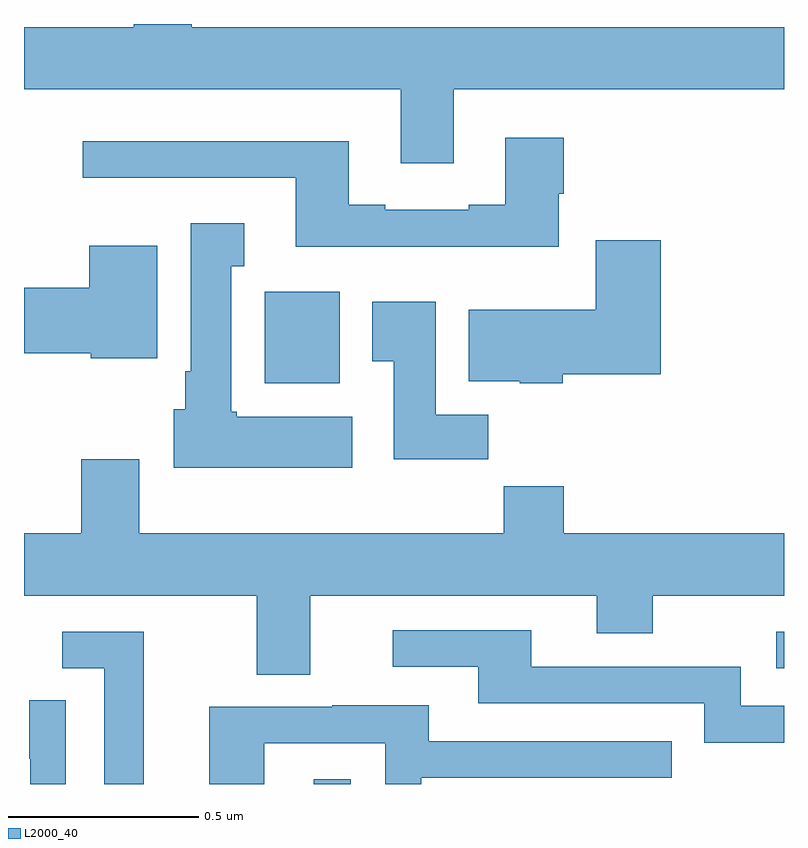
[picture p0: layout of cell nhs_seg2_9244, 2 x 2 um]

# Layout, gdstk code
import gdstk
lib = gdstk.Library(unit=1e-6, precision=1e-09)
def R(c, l, rs):  # rectangles x0, y0, x1, y1
    for r in rs: c.add(gdstk.rectangle(r[:2], r[2:], *l))
def P(c, l, *ps):  # polygons
    for p in ps: c.add(gdstk.Polygon(p, *l))
L2000_40 = (2000, 40)

nhs_seg2_9244 = lib.new_cell('nhs_seg2_9244')
R(nhs_seg2_9244, L2000_40, [(226.763,653.8,226.86,653.812), (227.979,654.105,228,654.201), (226.634,654.854,226.831,655.096)])
P(nhs_seg2_9244, L2000_40, [(227.131,655.628),(228,655.628),(228,655.792),(226.442,655.792),(226.442,655.8),(226.289,655.8),(226.289,655.792),(226,655.792),(226,655.628),(226.991,655.628),(226.991,655.434),(227.131,655.434)],
  [(227.407,655.353),(227.42,655.353),(227.42,655.501),(227.267,655.501),(227.267,655.324),(227.171,655.324),(227.171,655.311),(226.951,655.311),(226.951,655.324),(226.855,655.324),(226.855,655.492),(226.155,655.492),(226.155,655.395),(226.715,655.395),(226.715,655.214),(227.407,655.214)],
  [(226.864,654.766),(226.56,654.766),(226.56,654.78),(226.546,654.78),(226.546,655.163),(226.579,655.163),(226.579,655.276),(226.439,655.276),(226.439,654.886),(226.424,654.886),(226.424,654.786),(226.394,654.786),(226.394,654.632),(226.864,654.632)],
  [(227.418,654.878),(227.675,654.878),(227.675,655.231),(227.504,655.231),(227.504,655.048),(227.171,655.048),(227.171,654.86),(227.304,654.86),(227.304,654.854),(227.418,654.854)],
  [(226.351,655.216),(226.172,655.216),(226.172,655.106),(226,655.106),(226,654.934),(226.176,654.934),(226.176,654.92),(226.351,654.92)],
  [(227.222,654.772),(227.083,654.772),(227.083,655.069),(226.916,655.069),(226.916,654.913),(226.973,654.913),(226.973,654.654),(227.222,654.654)],
  [(226.753,654.296),(227.507,654.296),(227.507,654.197),(227.655,654.197),(227.655,654.296),(228,654.296),(228,654.46),(227.42,654.46),(227.42,654.584),(227.263,654.584),(227.263,654.46),(226.303,654.46),(226.303,654.655),(226.151,654.655),(226.151,654.46),(226,654.46),(226,654.296),(226.613,654.296),(226.613,654.088),(226.753,654.088)],
  [(228,654.006),(227.886,654.006),(227.886,654.108),(227.335,654.108),(227.335,654.204),(226.971,654.204),(226.971,654.108),(227.195,654.108),(227.195,654.012),(227.79,654.012),(227.79,653.909),(228,653.909)],
  [(226.315,654.201),(226.101,654.201),(226.101,654.105),(226.211,654.105),(226.211,653.8),(226.315,653.8)],
  [(226.11,654.02),(226.014,654.02),(226.014,653.866),(226.016,653.866),(226.016,653.8),(226.11,653.8)],
  [(226.632,653.907),(226.95,653.907),(226.95,653.8),(227.046,653.8),(227.046,653.817),(227.705,653.817),(227.705,653.913),(227.065,653.913),(227.065,654.007),(226.811,654.007),(226.811,654.003),(226.487,654.003),(226.487,653.8),(226.632,653.8)])

lib.write_gds('nhs_seg2_9244.gds')
